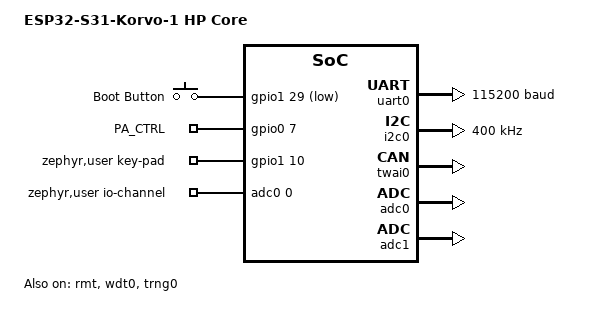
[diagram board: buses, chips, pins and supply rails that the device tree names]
/*
 * kharon-boards/boards/espressif/korvo1/korvo1_hpcore.dts
 *
 * 一块物理 PCB = 一个 board：Korvo-1 是 ESP32-S31 高性能核板。
 * 所有 Korvo-1 实验台都成立的接线都收在这里，APP 的 overlay 只留
 * 本 APP 额外要的外设。
 */

/dts-v1/;

#include <espressif/esp32s31/esp32s31.dtsi>
#include "korvo1-pinctrl.dtsi"
#include <zephyr/dt-bindings/input/input-event-codes.h>
#include <zephyr/dt-bindings/led/led.h>
#include <espressif/partitions_0x2000_default_16M.dtsi>

/ {
	compatible = "espressif,esp32s31";
	model = "ESP32-S31-Korvo-1 HP Core";

	chosen {
		zephyr,sram = &sramhp;
		zephyr,console = &uart0;
		zephyr,shell-uart = &uart0;
		zephyr,flash = &flash0;
		zephyr,code-partition = &slot0_partition;
		zephyr,canbus = &twai0;
	};

	aliases {
		sw0 = &boot_button;
		led-strip = &led_strip;
		watchdog0 = &wdt0;
		pa-ctrl = &pa_ctrl;
	};

	led_strip: ws2812 {
		compatible = "worldsemi,ws2812-pulse-io";
		pulse-ios = <&rmt 0>;
		chain-length = <1>;
		color-mapping = <LED_COLOR_ID_GREEN
				 LED_COLOR_ID_RED
				 LED_COLOR_ID_BLUE>;
		reset-delay = <300>;
	};

	gpio_keys {
		compatible = "gpio-keys";

		boot_button: button {
			label = "Boot Button";
			gpios = <&gpio1 29 (GPIO_PULL_UP | GPIO_ACTIVE_LOW)>;
			zephyr,code = <INPUT_KEY_0>;
		};
	};

	leds {
		compatible = "gpio-leds";

		pa_ctrl: pa_ctrl_0 {
			gpios = <&gpio0 7 GPIO_ACTIVE_HIGH>;
			label = "PA_CTRL";
		};
	};

	/*
	 * 板级电气事实出口：APP 只认能力，不认 IO42 / 四键 mV。
	 * io-channels 同时给出 ADC 单元与通道，key-thresholds-mv 是四键的
	 * 实测电压梯；没有这块板的设备不会拥有这个节点，APP 用
	 * DT_NODE_EXISTS(DT_PATH(zephyr_user)) 自动裁掉 ADC 键功能。
	 */
	zephyr,user {
		io-channels = <&adc0 0>;
		key-pad-gpios = <&gpio1 10 GPIO_ACTIVE_HIGH>;
		key-thresholds-mv = <260 759 1237 1647>;
		key-adc-vref-mv = <3300>;
	};
};

&flash0 {
	reg = <0x0 DT_SIZE_M(16)>;
	ranges = <0x0 0x0 DT_SIZE_M(16)>;
};

&psram0 {
	size = <DT_SIZE_M(16)>;
};

&uart0 {
	current-speed = <115200>;
	pinctrl-0 = <&uart0_default>;
	pinctrl-names = "default";
	status = "okay";
};

&i2c0 {
	clock-frequency = <I2C_BITRATE_FAST>;
	pinctrl-0 = <&i2c0_default>;
	pinctrl-names = "default";
	status = "okay";
};

&gpio0 {
	status = "okay";
};

&gpio1 {
	status = "okay";
};

&rmt {
	pinctrl-0 = <&rmt_default>;
	pinctrl-names = "default";
	status = "okay";
};

&twai0 {
	pinctrl-0 = <&twai0_default>;
	pinctrl-names = "default";
	status = "okay";
};

&wdt0 {
	status = "okay";
};

&trng0 {
	status = "okay";
};

/* IO42 上的四键是一路 ADC 读四种电压；S31 的 unit 号在 SoC dtsi 里错位，
 * 板级层改回 0 基：ADC1=0、ADC2=1。
 */
&adc0 {
	unit = <0>;
	status = "okay";
};

&adc1 {
	unit = <1>;
	status = "okay";
};

/* Internal LDO channel 1 powers the on-board PSRAM at 1.8 V. */
&ldo {
	status = "okay";

	ldo1@1 {
		regulator-init-microvolt = <1800000>;
		regulator-boot-on;
		regulator-always-on;
	};
};
